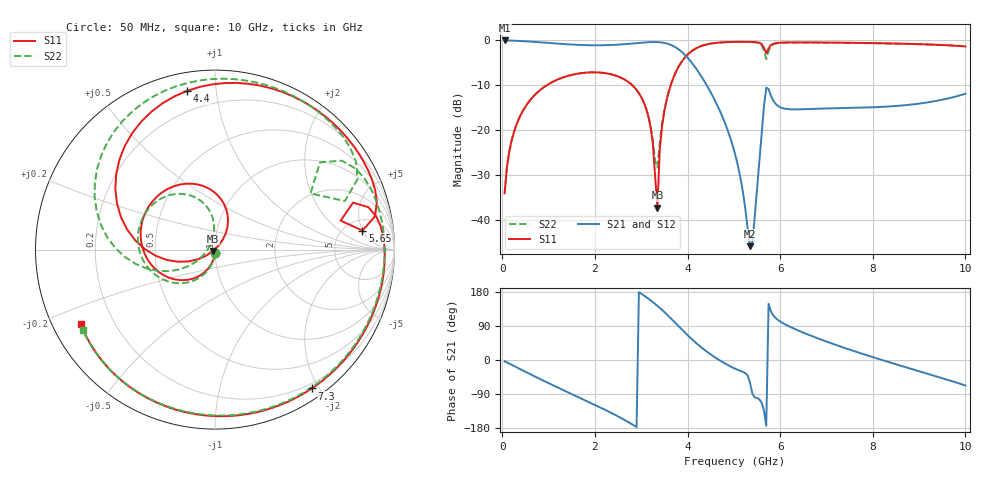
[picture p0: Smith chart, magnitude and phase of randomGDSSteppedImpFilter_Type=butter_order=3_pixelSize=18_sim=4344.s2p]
! freq	dB(S11)	phase(S11)	dB(S12)	phase(S12)
!  dB(S21)	phase(S21)	dB(S22)	phase(S22)
!S-par simulation data
#  GHz  S  DB  R 50
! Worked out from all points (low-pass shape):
!   200 points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, 50 MHz to 10 GHz, reference 50 ohm
!   highest |S21| = -0.02 dB at 50 MHz (marker M1); lowest = -45.9 dB at 5.35 GHz (marker M2)
!   |S21| within 3 dB of the highest: start of sweep to 3.922 GHz
!   lowest |S11| = -37.3 dB at 3.35 GHz (marker M3), VSWR 1.03, Z = 48.8 - j0.688 ohm
!   |S11| at or under -10 dB: start of sweep to 961.7 MHz; 2.806 GHz to 3.638 GHz (831.7 MHz wide, 25.8 % of centre)
!   |S22| runs from -34.1 to -0.3 dB; largest |S21 - S12| = 0
!   S11 on the Smith chart (normalised r, x): 50 MHz: 1.00, -0.04; 4.4 GHz: 0.09, +0.83; 5.65 GHz: 7.29, +4.93; 7.3 GHz: 0.14, -1.91; 10 GHz: 0.08, -0.26
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0.05  -34.10 -90.9  -0.02 -3.2  -0.02 -3.2  -34.08 -90.6
0.2  -22.37 -102.8  -0.05 -12.6  -0.05 -12.6  -22.36 -101.4
0.5  -14.77 -123.2  -0.20 -31.2  -0.20 -31.2  -14.76 -119.7
1.75  -7.25 159.3  -1.05 -104.1  -1.05 -104.1  -7.24 171.6
3  -12.65 74.4  -0.53 175.0  -0.53 175.0  -12.62 99.7
3.2  -19.21 56.7  -0.38 157.6  -0.38 157.6  -18.91 92.3
3.35  -37.29 -149.0  -0.38 142.8  -0.38 142.8  -28.34 173.5
3.4  -24.35 -145.4  -0.42 137.5  -0.42 137.5  -22.90 -154.6
3.55  -13.24 -161.9  -0.69 120.6  -0.69 120.6  -13.06 -150.5
3.75  -7.02 173.6  -1.60 96.3  -1.60 96.3  -6.97 -169.7
4.05  -2.71 136.7  -4.45 59.8  -4.45 59.8  -2.70 156.2
4.4  -0.94 100.0  -9.74 23.5  -9.74 23.5  -0.94 120.7
5.05  -0.32 49.9  -26.30 -24.2  -26.30 -24.2  -0.35 69.6
5.35  -0.33 30.5  -45.88 -60.4  -45.88 -60.4  -0.38 48.6
5.4  -0.35 27.3  -45.03 -88.5  -45.03 -88.5  -0.40 44.9
5.65  -1.63 7.3  -14.75 -133.2  -14.75 -133.2  -2.24 20.5
5.7  -2.87 13.0  -10.54 -173.7  -10.54 -173.7  -4.19 30.4
5.8  -1.04 15.5  -12.32 128.7  -12.32 128.7  -1.28 35.0
6.7  -0.46 -31.0  -15.27 62.4  -15.27 62.4  -0.50 -20.5
7.3  -0.51 -55.1  -15.11 35.6  -15.11 35.6  -0.54 -48.5
8.35  -0.67 -92.7  -14.74 -5.6  -14.74 -5.6  -0.69 -90.7
10  -1.36 -151.0  -11.89 -67.2  -11.89 -67.2  -1.29 -148.7
